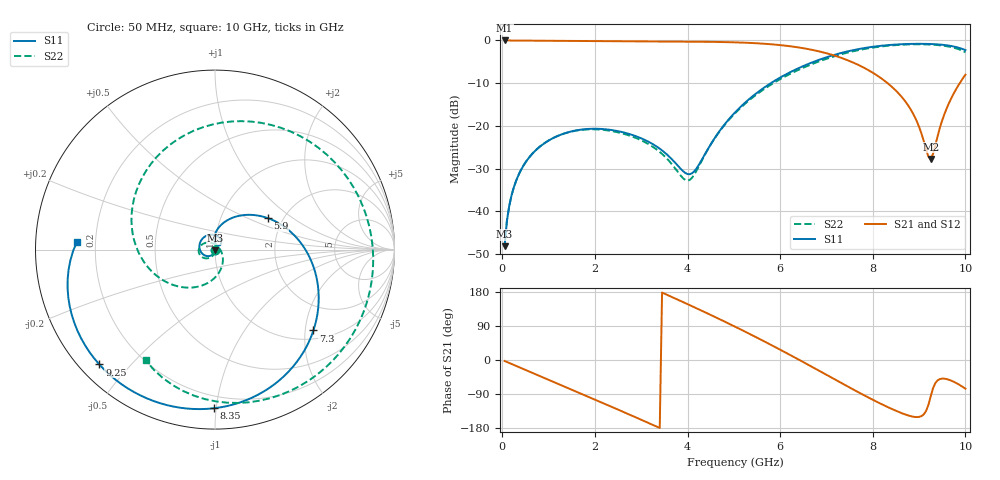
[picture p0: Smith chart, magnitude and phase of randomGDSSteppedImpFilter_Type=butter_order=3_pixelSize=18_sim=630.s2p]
! freq	dB(S11)	phase(S11)	dB(S12)	phase(S12)
!  dB(S21)	phase(S21)	dB(S22)	phase(S22)
!S-par simulation data
#  GHz  S  DB  R 50
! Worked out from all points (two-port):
!   200 points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, 50 MHz to 10 GHz, reference 50 ohm
!   highest |S21| = 0.00 dB at 50 MHz (marker M1); lowest = -27.7 dB at 9.25 GHz (marker M2)
!   |S21| within 3 dB of the highest: start of sweep to 7.004 GHz
!   lowest |S11| = -48.1 dB at 50 MHz (marker M3), VSWR 1.01, Z = 50 - j0.393 ohm
!   |S11| at or under -10 dB: start of sweep to 5.797 GHz
!   |S22| runs from -48.0 to -0.9 dB; largest |S21 - S12| = 0
!   S11 on the Smith chart (normalised r, x): 50 MHz: 1.00, -0.01; 5.9 GHz: 1.67, +0.66; 7.3 GHz: 1.22, -2.21; 8.35 GHz: 0.12, -0.99; 9.25 GHz: 0.06, -0.41; 10 GHz: 0.13, +0.03
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0.05  -48.11 -87.8  -0.00 -2.7  -0.00 -2.7  -48.03 -87.1
0.1  -42.19 -93.6  -0.01 -5.3  -0.01 -5.3  -42.17 -91.8
0.2  -36.23 -101.3  -0.02 -10.5  -0.02 -10.5  -36.23 -97.6
0.5  -28.55 -121.1  -0.04 -26.2  -0.04 -26.2  -28.53 -111.9
1.15  -22.56 -162.4  -0.09 -60.1  -0.09 -60.1  -22.55 -140.0
1.75  -20.79 158.6  -0.14 -91.4  -0.14 -91.4  -20.87 -164.3
2.5  -21.22 107.2  -0.19 -130.9  -0.19 -130.9  -21.49 167.2
3.4  -25.31 50.3  -0.23 -179.3  -0.23 -179.3  -26.08 128.0
4.05  -31.28 65.3  -0.28 144.6  -0.28 144.6  -32.61 31.3
4.6  -22.61 92.1  -0.34 113.2  -0.34 113.2  -22.67 -53.1
5.05  -16.56 74.3  -0.45 86.5  -0.45 86.5  -16.76 -86.1
5.45  -12.66 54.1  -0.63 62.1  -0.63 62.1  -12.97 -113.9
5.9  -9.31 30.8  -0.98 33.7  -0.98 33.7  -9.68 -147.0
6.3  -6.97 10.4  -1.48 7.7  -1.48 7.7  -7.37 -178.5
6.7  -5.10 -9.7  -2.22 -18.9  -2.22 -18.9  -5.48 148.1
7.3  -2.98 -39.4  -4.00 -59.3  -4.00 -59.3  -3.29 95.9
7.8  -1.81 -63.8  -6.33 -92.3  -6.33 -92.3  -2.03 52.8
8.35  -1.07 -90.3  -10.26 -125.8  -10.26 -125.8  -1.21 8.4
8.85  -0.80 -114.6  -16.72 -149.1  -16.72 -149.1  -0.91 -29.1
9.25  -0.84 -135.2  -27.74 -96.4  -27.74 -96.4  -0.97 -58.3
9.65  -1.22 -158.6  -14.55 -52.4  -14.55 -52.4  -1.45 -89.5
10  -2.26 176.7  -8.03 -75.7  -8.03 -75.7  -2.77 -122.2
